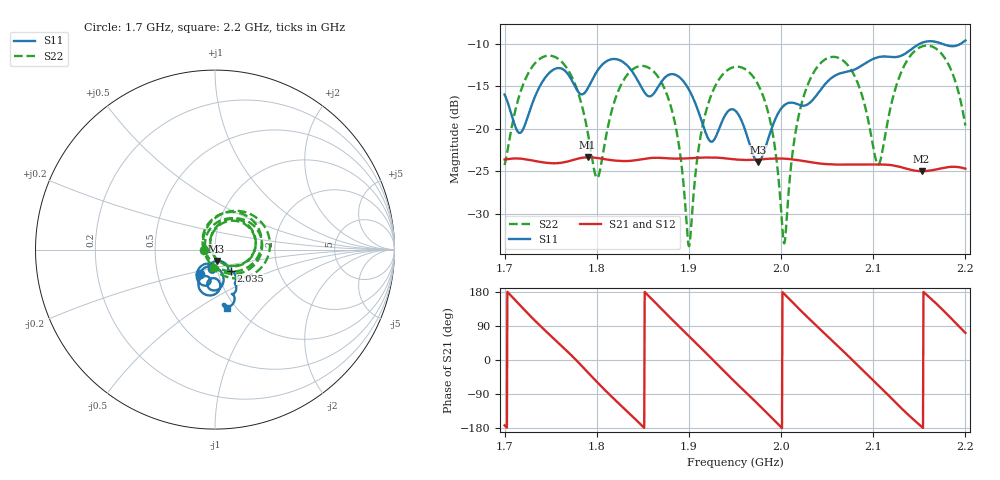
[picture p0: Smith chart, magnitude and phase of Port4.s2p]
# Hz S RI R 50
! CMT, CMT808U, 21440046, 21.4.3/4
! Date: 11/17/2025 2:29:56 PM
! Data: Format (Calibration Info)
! Freq	S11:Re/Im(F2)	S41:Re/Im(F2)	S14:Re/Im(F2)	S44:Re/Im(F2)
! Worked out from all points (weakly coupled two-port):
!   1001 points, 1.7 GHz to 2.2 GHz, reference 50 ohm
!   highest |S21| = -23.36 dB at 1.79 GHz (marker M1); lowest = -25.0 dB at 2.152 GHz (marker M2)
!   lowest |S11| = -23.9 dB at 1.975 GHz (marker M3), VSWR 1.14, Z = 50.5 - j6.4 ohm
!   |S11| at or under -10 dB: start of sweep to 2.15 GHz; 2.175 GHz to 2.195 GHz (19.46 MHz wide, 0.891 % of centre)
!   |S22| runs from -33.8 to -10.2 dB; largest |S21 - S12| = 0.00017
!   S11 on the Smith chart (normalised r, x): 1.7 GHz: 0.82, -0.23; 2.035 GHz: 1.16, -0.28; 2.2 GHz: 0.91, -0.66
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1.7e9  -0.0821 -0.1361  -0.0653 -0.00862  -0.0653 -0.00852  -0.0611 -0.00188
1.717e9  -0.0113 -0.0939  -0.0538 0.0394  -0.0537 0.0395  -0.0225 0.1618
1.7375e9  0.048 -0.1682  -0.00326 0.0638  -0.00318 0.0639  0.1729 0.1897
1.7835e9  -0.00953 -0.1591  0.0651 -0.0175  0.065 -0.0176  0.0712 -0.1199
1.79e9  0.0178 -0.1712  0.0577 -0.0358  0.0576 -0.036  0.0113 -0.0959
1.801e9  0.026 -0.2194  0.0337 -0.0581  0.0336 -0.0583  -0.0506 -0.00924
1.8295e9  -0.0784 -0.2322  -0.0394 -0.0511  -0.0395 -0.051  0.0875 0.1742
1.867e9  -0.0245 -0.1763  -0.0534 0.0411  -0.0534 0.0413  0.1948 -0.0476
1.886e9  -0.0822 -0.1902  -0.00764 0.0662  -0.00753 0.0663  0.0568 -0.0831
1.9e9  -0.1017 -0.1364  0.0301 0.0598  0.0302 0.0598  -0.019 -0.00727
1.9185e9  -0.0503 -0.079  0.0642 0.0214  0.0643 0.0213  0.0122 0.1258
1.95e9  -0.0263 -0.1254  0.035 -0.0559  0.0349 -0.056  0.2136 0.0893
1.975e9  0.00901 -0.0631  -0.0294 -0.059  -0.0295 -0.0589  0.1661 -0.0751
2.0035e9  0.0726 -0.1169  -0.0663 0.00681  -0.0663 0.00695  -0.0202 -0.00608
2.0165e9  0.0629 -0.1257  -0.0518 0.0402  -0.0517 0.0403  -0.0108 0.1005
2.0335e9  0.0859 -0.1184  -0.0128 0.062  -0.0127 0.062  0.1096 0.1743
2.035e9  0.0894 -0.1195  -0.00897 0.0625  -0.00884 0.0625  0.1228 0.1741
2.074e9  0.1099 -0.1885  0.0609 0.00852  0.061 0.00842  0.211 -0.0936
2.105e9  0.1102 -0.2396  0.0256 -0.056  0.0255 -0.0561  -0.0569 -0.0238
2.117e9  0.0949 -0.248  -0.00481 -0.061  -0.00495 -0.061  -0.0515 0.1086
2.1525e9  0.0967 -0.3055  -0.056 -0.00386  -0.056 -0.00374  0.2775 0.1264
2.2e9  0.0666 -0.3246  0.0185 0.0552  0.0186 0.0551  -0.0111 -0.1037
